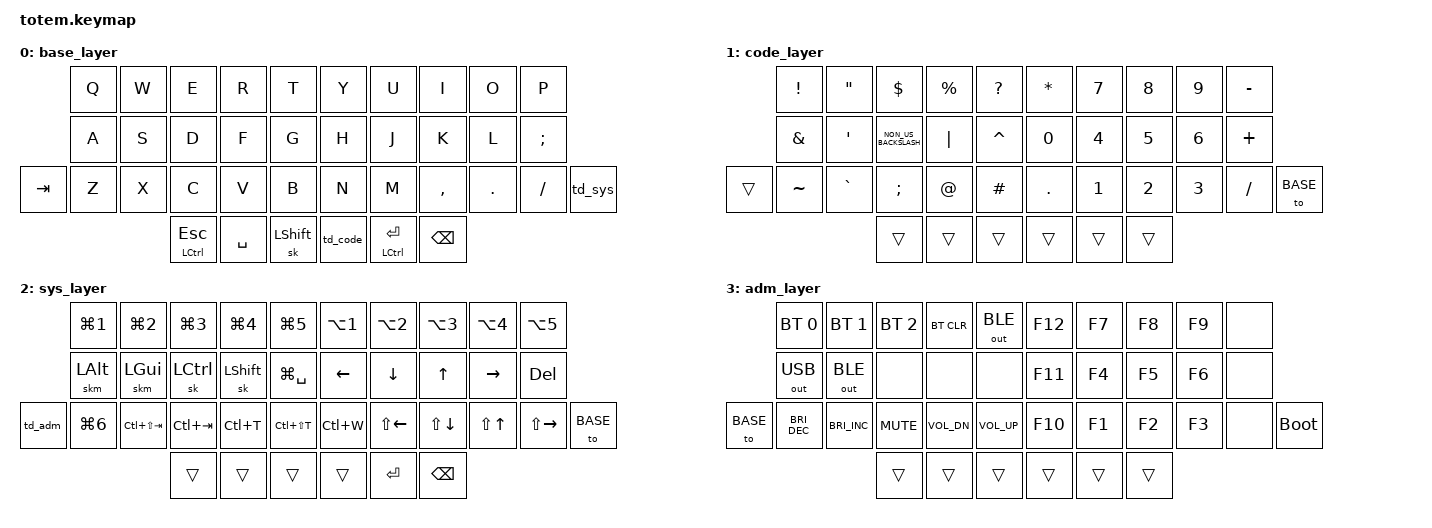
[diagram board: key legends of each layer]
//
//                                                        ▀▀▀▀▀     ▀▀▀▀▀          ▀▀█▀▀
//                                                        ▄▀▀▀▄  ▄  ▄▀▀▀▄  ▄  ▄▀▀▀▄  █  ▄▀▀▀▄
//                                                        █   █  █  █   █  █  █   █  █  █   █
//                                                         ▀▀▀   █   ▀▀▀   █   ▀▀▀   ▀   ▀▀▀
//                                                               █      ▄▄▄█▄▄▄    █   █  
//                                                               ▀      █  █  █     █▄█
//                                                             ▀▀▀▀▀    █  █  █      ▀
//                                                                      ▀  ▀  ▀
//
// ▄▄▄▄▄▄▄▄▄▄▄▄▄▄▄▄▄▄▄▄▄▄▄▄▄▄▄▄▄▄▄▄▄▄▄▄▄▄▄▄▄▄▄▄▄▄▄▄▄▄▄▄▄▄▄▄▄▄▄▄▄▄▄▄▄▄▄▄▄▄▄▄▄▄▄▄▄▄▄▄▄▄▄▄▄▄▄▄▄▄▄▄▄▄▄▄▄▄▄▄▄▄▄▄▄▄▄▄▄▄▄▄▄▄▄▄▄▄▄▄▄▄▄▄▄▄▄▄▄▄▄▄▄▄▄▄▄▄▄▄▄▄▄▄▄▄▄▄▄
//
// TOTEM - 3 daily layers + 1 hidden admin layer
// BASE = typing
// CODE = symbols + number-row keycodes on a numpad shape
// SYS  = apps/workspaces + sticky mods + browser/system helpers
// ADM  = bluetooth, outputs, F-keys, media, bootloader
//
// Slovak workflow:
// 1) Tap SYS
// 2) Tap G on SYS to send Super+Space and switch GNOME input source
// 3) Use CODE for the number-row keycodes (N1..N0) in a numpad arrangement
// 4) Use Shift for capitals
// 5) Tap SYS + G again to return to English
//

#include <behaviors.dtsi>
#include <dt-bindings/zmk/bt.h>
#include <dt-bindings/zmk/keys.h>
#include <dt-bindings/zmk/outputs.h>

#define BASE 0
#define CODE 1
#define SYS  2
#define ADM  3

&caps_word {
    /delete-property/ ignore-numbers;

    continue-list = <BACKSPACE DELETE UNDERSCORE MINUS>;
};

&sl { release-after-ms = <1500>; };

&sk {
    release-after-ms = <1500>;
    quick-release;
};

/ {
    behaviors {
        td_code: tap_dance_code {
            compatible = "zmk,behavior-tap-dance";
            #binding-cells = <0>;
            tapping-term-ms = <180>;
            bindings = <&sl CODE>, <&tog CODE>;
        };

        td_sys: tap_dance_sys {
            compatible = "zmk,behavior-tap-dance";
            #binding-cells = <0>;
            tapping-term-ms = <180>;
            bindings = <&sl SYS>, <&tog SYS>;
        };

        td_adm: tap_dance_adm {
            compatible = "zmk,behavior-tap-dance";
            #binding-cells = <0>;
            tapping-term-ms = <180>;
            bindings = <&sl ADM>, <&tog ADM>;
        };

        skm: sticky_key_mod {
            compatible = "zmk,behavior-sticky-key";
            #binding-cells = <1>;
            bindings = <&kp>;
            release-after-ms = <1000>;
            quick-release;
            lazy;
        };
    };

    combos {
        compatible = "zmk,combos";

        combo_caps_word {
            timeout-ms = <50>;
            key-positions = <13 16>;
            bindings = <&caps_word>;
            layers = <BASE>;
        };

        combo_lpar {
            timeout-ms = <40>;
            key-positions = <6 7>;
            bindings = <&kp LPAR>;
            layers = <BASE>;
        };

        combo_rpar {
            timeout-ms = <40>;
            key-positions = <7 8>;
            bindings = <&kp RPAR>;
            layers = <BASE>;
        };

        combo_lbkt {
            timeout-ms = <40>;
            key-positions = <16 17>;
            bindings = <&kp LBKT>;
            layers = <BASE>;
        };

        combo_rbkt {
            timeout-ms = <40>;
            key-positions = <17 18>;
            bindings = <&kp RBKT>;
            layers = <BASE>;
        };

        combo_lbrc {
            timeout-ms = <40>;
            key-positions = <27 28>;
            bindings = <&kp LBRC>;
            layers = <BASE>;
        };

        combo_rbrc {
            timeout-ms = <40>;
            key-positions = <28 29>;
            bindings = <&kp RBRC>;
            layers = <BASE>;
        };

        combo_esc {
            bindings = <&kp ESCAPE>;
            key-positions = <11 12 13>;
            timeout-ms = <40>;
        };

        combo_lessthan {
            bindings = <&kp LESS_THAN>;
            key-positions = <22 23>;
            timeout-ms = <40>;
        };

        combo_greaterthan {
            bindings = <&kp GREATER_THAN>;
            key-positions = <23 24>;
            timeout-ms = <40>;
        };

        combo_equal {
            bindings = <&kp EQUAL>;
            key-positions = <6 8>;
            timeout-ms = <40>;
        };

        combo_leftgui {
            bindings = <&skm LEFT_GUI>;
            key-positions = <22 23 24>;
            timeout-ms = <40>;
        };

        combo_underscore {
            bindings = <&kp UNDERSCORE>;
            key-positions = <27 29>;
            timeout-ms = <40>;
        };
    };

    keymap {
        compatible = "zmk,keymap";

        base_layer {
            bindings = <
         &kp Q  &kp W  &kp E          &kp R      &kp T        &kp Y     &kp U          &kp I      &kp O    &kp P
         &kp A  &kp S  &kp D          &kp F      &kp G        &kp H     &kp J          &kp K      &kp L    &kp SEMICOLON
&kp TAB  &kp Z  &kp X  &kp C          &kp V      &kp B        &kp N     &kp M          &kp COMMA  &kp DOT  &kp FSLH       &td_sys
                       &mt LCTRL ESC  &kp SPACE  &sk LSHFT    &td_code  &mt LCTRL RET  &kp BSPC
            >;
        };

        code_layer {
            bindings = <
        &kp EXCL   &kp DQT    &kp DLLR              &kp PRCNT  &kp QMARK    &kp ASTRK  &kp N7  &kp N8  &kp N9  &kp MINUS
        &kp AMPS   &kp SQT    &kp NON_US_BACKSLASH  &kp PIPE   &kp CARET    &kp N0     &kp N4  &kp N5  &kp N6  &kp PLUS
&trans  &kp TILDE  &kp GRAVE  &kp SEMI              &kp AT     &kp HASH     &kp DOT    &kp N1  &kp N2  &kp N3  &kp SLASH  &to BASE
                              &trans                &trans     &trans       &trans     &trans  &trans
            >;
        };

        sys_layer {
            bindings = <
         &kp LG(N1)  &kp LG(N2)       &kp LG(N3)   &kp LG(N4)  &kp LG(N5)       &kp LA(N1)  &kp LA(N2)    &kp LA(N3)    &kp LA(N4)  &kp LA(N5)
         &skm LALT   &skm LGUI        &sk LCTRL    &sk LSHFT   &kp LG(SPACE)    &kp LEFT    &kp DOWN      &kp UP        &kp RIGHT   &kp DEL
&td_adm  &kp LG(N6)  &kp LC(LS(TAB))  &kp LC(TAB)  &kp LC(T)   &kp LC(LS(T))    &kp LC(W)   &kp LS(LEFT)  &kp LS(DOWN)  &kp LS(UP)  &kp LS(RIGHT)  &to BASE
                                      &trans       &trans      &trans           &trans      &kp RET       &kp BSPC
            >;
        };

        adm_layer {
            bindings = <
          &bt BT_SEL 0          &bt BT_SEL 1          &bt BT_SEL 2  &bt BT_CLR    &out OUT_BLE    &kp F12  &kp F7  &kp F8  &kp F9  &none
          &out OUT_USB          &out OUT_BLE          &none         &none         &none           &kp F11  &kp F4  &kp F5  &kp F6  &none
&to BASE  &kp C_BRIGHTNESS_DEC  &kp C_BRIGHTNESS_INC  &kp C_MUTE    &kp C_VOL_DN  &kp C_VOL_UP    &kp F10  &kp F1  &kp F2  &kp F3  &none  &bootloader
                                                      &trans        &trans        &trans          &trans   &trans  &trans
            >;
        };
    };
};
